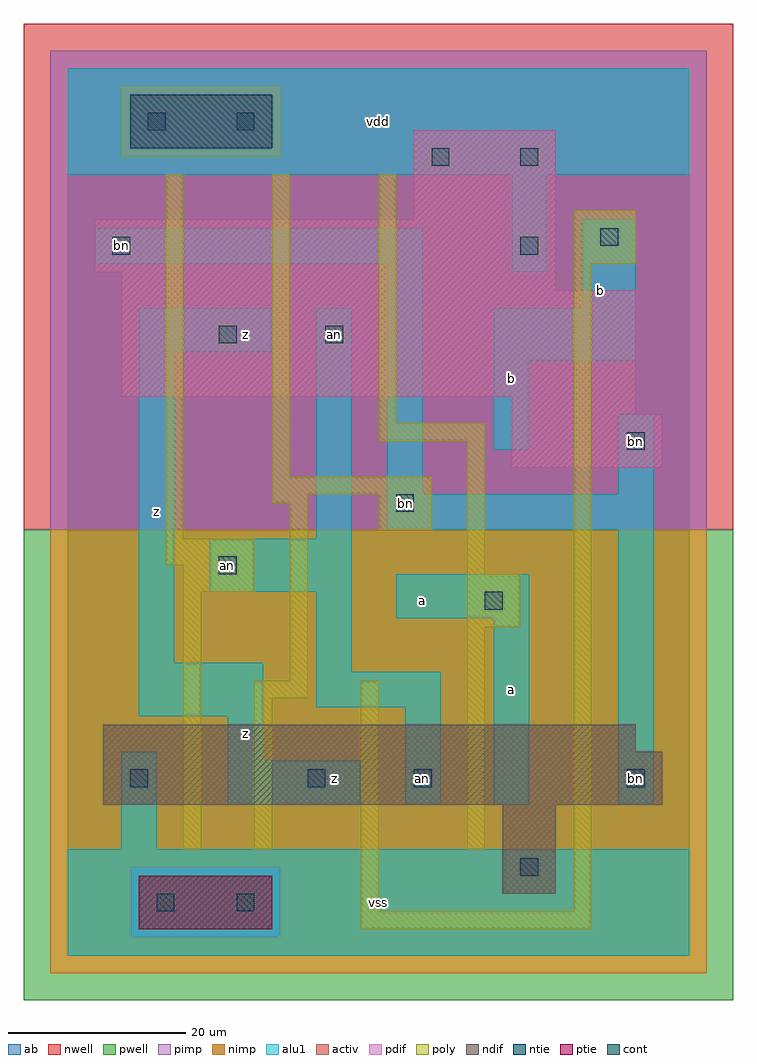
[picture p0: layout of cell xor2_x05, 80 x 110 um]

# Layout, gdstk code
import gdstk
lib = gdstk.Library(unit=1e-6, precision=1e-09)
def R(c, l, rs):  # rectangles x0, y0, x1, y1
    for r in rs: c.add(gdstk.rectangle(r[:2], r[2:], *l))
ndif = (3, 0)
pdif = (4, 0)
ntie = (5, 0)
ptie = (6, 0)
cont = (25, 0)
pwell = (41, 0)
nwell = (42, 0)
activ = (43, 0)
pimp = (44, 0)
nimp = (45, 0)
poly = (46, 0)
alu1 = (49, 0)
ab = (63, 0)

xor2_x05 = lib.new_cell('xor2_x05')
R(xor2_x05, ndif, [(49,7,55,17), (4,17,67,23), (4,23,64,26)])
R(xor2_x05, pdif, [(50,55,67,61), (50,61,64,63), (6,63,64,75), (6,75,55,77), (3,77,55,83), (39,83,55,93)])
R(xor2_x05, ntie, [(7,91,23,97)])
R(xor2_x05, ptie, [(8,3,23,9)])
R(xor2_x05, cont, [(10,5,12,7), (19,5,21,7), (51,9,53,11), (7,19,9,21), (27,19,29,21), (39,19,41,21), (63,19,65,21), (47,39,49,41), (17,43,19,45), (37,50,39,52), (63,57,65,59), (17,69,19,71), (29,69,31,71), (5,79,7,81), (51,79,53,81), (60,80,62,82), (41,89,43,91), (51,89,53,91), (9,93,11,95), (19,93,21,95)])
R(xor2_x05, pwell, [(-5,-5,75,48)])
R(xor2_x05, nwell, [(-5,48,75,105)])
R(xor2_x05, activ, [(8,3,23,9), (49,7,55,17), (4,17,67,23), (4,23,64,26), (50,55,67,61), (50,61,64,63), (6,63,64,75), (6,75,55,77), (3,77,55,83), (39,83,55,93), (7,91,23,97)])
R(xor2_x05, pimp, [(7,2,24,10), (-2,48,72,90), (-2,90,6,98), (24,90,72,98), (-2,98,72,102)])
R(xor2_x05, nimp, [(-2,-2,72,2), (-2,2,7,10), (24,2,72,10), (-2,10,72,48), (6,90,24,98)])
R(xor2_x05, poly, [(33,3,59,5), (33,5,35,31), (57,5,59,78), (13,12,15,41), (21,12,23,29), (45,12,47,37), (21,29,27,31), (25,31,27,51), (45,37,51,43), (13,41,21,44), (45,43,47,58), (11,44,21,47), (11,47,13,88), (35,48,41,52), (23,51,27,52), (23,52,41,54), (23,54,25,88), (35,58,47,60), (35,60,37,88), (57,78,64,84)])
R(xor2_x05, alu1, [(0,0,70,12), (6,12,10,23), (18,17,33,22), (38,17,42,28), (48,17,52,38), (62,17,66,48), (18,22,22,27), (8,27,22,33), (28,28,42,32), (28,32,32,41), (8,33,12,68), (37,38,52,43), (16,41,32,47), (28,47,32,73), (36,48,66,52), (36,52,40,78), (62,52,66,61), (48,57,52,67), (48,67,64,73), (8,68,23,73), (58,73,64,83), (50,77,54,88), (3,78,40,82), (0,88,70,100)])
R(xor2_x05, ab, [(0,0,70,100)])
xor2_x05.add(gdstk.Label('an', (18,44), layer=49, texttype=0))
xor2_x05.add(gdstk.Label('bn', (6,80), layer=49, texttype=0))
xor2_x05.add(gdstk.Label('an', (40,20), layer=49, texttype=0))
xor2_x05.add(gdstk.Label('bn', (38,51), layer=49, texttype=0))
xor2_x05.add(gdstk.Label('an', (30,70), layer=49, texttype=0))
xor2_x05.add(gdstk.Label('bn', (64,20), layer=49, texttype=0))
xor2_x05.add(gdstk.Label('bn', (64,58), layer=49, texttype=0))
xor2_x05.add(gdstk.Label('z', (10,50), layer=49, texttype=0))
xor2_x05.add(gdstk.Label('z', (30,20), layer=49, texttype=0))
xor2_x05.add(gdstk.Label('z', (20,25), layer=49, texttype=0))
xor2_x05.add(gdstk.Label('z', (20,70), layer=49, texttype=0))
xor2_x05.add(gdstk.Label('vss', (35,6), layer=49, texttype=0))
xor2_x05.add(gdstk.Label('a', (50,30), layer=49, texttype=0))
xor2_x05.add(gdstk.Label('a', (40,40), layer=49, texttype=0))
xor2_x05.add(gdstk.Label('b', (50,65), layer=49, texttype=0))
xor2_x05.add(gdstk.Label('vdd', (35,94), layer=49, texttype=0))
xor2_x05.add(gdstk.Label('b', (60,75), layer=49, texttype=0))

lib.write_gds('xor2_x05.gds')
